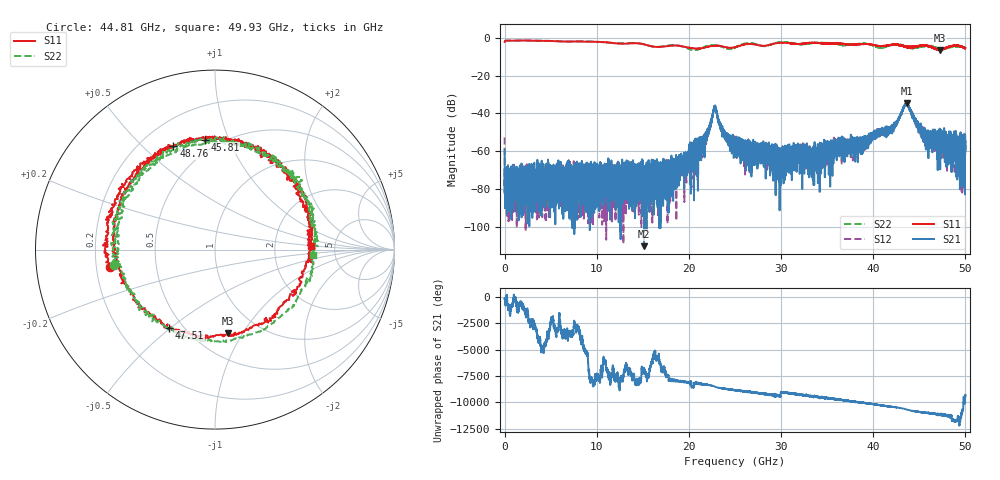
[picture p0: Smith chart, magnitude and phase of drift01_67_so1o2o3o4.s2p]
!Created with skrf (http://scikit-rf.org).
# Hz S RI R 50.0
!freq ReS11 ImS11 ReS21 ImS21 ReS12 ImS12 ReS22 ImS22
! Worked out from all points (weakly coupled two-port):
!   10001 points, 300 kHz to 50 GHz, reference 50 ohm
!   highest |S21| = -34.61 dB at 43.66 GHz (marker M1); lowest = -110.3 dB at 15.13 GHz (marker M2)
!   lowest |S11| = -6.5 dB at 47.25 GHz (marker M3), VSWR 2.79, Z = 35.9 - j43.1 ohm
!   |S11| at or under -10 dB: nowhere
!   |S22| runs from -6.4 to -1.4 dB; largest |S21 - S12| = 0.004
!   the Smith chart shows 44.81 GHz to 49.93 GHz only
!   S11 on the Smith chart (normalised r, x): 44.81 GHz: 0.26, -0.07; 45.81 GHz: 0.42, +0.82; 47.51 GHz: 0.42, -0.49; 48.76 GHz: 0.33, +0.62; 49.93 GHz: 3.30, +0.20
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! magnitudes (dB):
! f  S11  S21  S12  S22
! 300 kHz  -2.1  -59.4  -52.7  -2.1
! 255.3 MHz  -1.4  -78.6  -80.4  -1.4
! 345.3 MHz  -1.4  -74.5  -77.1  -1.4
! 8.335 GHz  -1.9  -80.7  -80.8  -1.8
! 15.13 GHz  -3.4  -110.3  -74.7  -3.4
! 16.67 GHz  -4.8  -71.6  -69.1  -4.8
! 20.91 GHz  -5.6  -60.5  -57.5  -6.1
! 21.93 GHz  -4.8  -50.6  -51.9  -4.3
! 22.8 GHz  -4.3  -36.2  -36.3  -4.1
! 23.71 GHz  -4.6  -48.5  -51.1  -4.9
! 25 GHz  -5.0  -58.2  -55.3  -5.0
! 29.58 GHz  -2.8  -60.5  -61.6  -2.6
! 33.34 GHz  -2.6  -58.7  -61.2  -2.7
! 41.67 GHz  -3.9  -48.4  -49.9  -4.1
! 43.66 GHz  -4.8  -34.6  -35.1  -4.8
! 44.81 GHz  -4.5  -46.5  -46.1  -4.9
! 45.81 GHz  -4.2  -51.4  -52.9  -4.2
! 47.25 GHz  -6.5  -51.2  -50.4  -5.9
! 47.51 GHz  -5.9  -55.7  -53.9  -5.5
! 48.76 GHz  -4.1  -59.9  -56.6  -4.6
! 49.93 GHz  -5.4  -59.4  -81.5  -5.2
! 50 GHz  -5.4  -54.6  -54.3  -5.2
